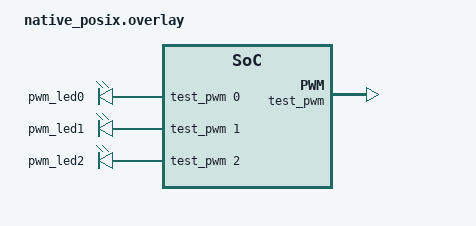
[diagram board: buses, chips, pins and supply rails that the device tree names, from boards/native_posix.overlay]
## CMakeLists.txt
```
#
# Copyright (c) 2023 Nordic Semiconductor ASA
#
# SPDX-License-Identifier: LicenseRef-Nordic-5-Clause
#

cmake_minimum_required(VERSION 3.20.0)

find_package(Zephyr REQUIRED HINTS $ENV{ZEPHYR_BASE})
project(led_module_test)

test_runner_generate(src/led_module_test.c)

target_sources(app
  PRIVATE
  src/led_module_test.c
  ../../src/modules/led/led.c
  ../../src/zbus/message_channel.c
)

zephyr_include_directories(${ZEPHYR_BASE}/include/zephyr/)
zephyr_include_directories(${ZEPHYR_BASE}/subsys/testsuite/include)
zephyr_include_directories(../../src/zbus/)
zephyr_include_directories(../../src/zcbor/include/)


target_link_options(app PRIVATE --whole-archive)
# Options that cannot be passed through Kconfig fragments
target_compile_definitions(app PRIVATE
	-DCONFIG_APP_MODULE_LED_LOG_LEVEL=4
)
```

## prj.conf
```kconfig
#
# Copyright (c) 2023 Nordic Semiconductor ASA
#
# SPDX-License-Identifier: LicenseRef-Nordic-5-Clause
#

CONFIG_UNITY=y
CONFIG_ZBUS=y
CONFIG_PWM=y
CONFIG_LED=y
CONFIG_LOG=y
CONFIG_PWM_LOG_LEVEL_DBG=y
```

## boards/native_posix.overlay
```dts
#include <zephyr/dt-bindings/pwm/pwm.h>

/{
	test_pwm: pwm@11112222 {
		compatible = "nordic,pwm-logger";
		#pwm-cells = <3>;
		reg = <0x11112222 0x1000>;
		status = "okay";
	};
	pwmleds {
		compatible = "pwm-leds";
		pwm_led0: pwm_led_0 {
			pwms = <&test_pwm 0 PWM_MSEC(8) PWM_POLARITY_NORMAL>;
		};
		pwm_led1: pwm_led_1 {
			pwms = <&test_pwm 1 PWM_MSEC(8) PWM_POLARITY_NORMAL>;
		};
		pwm_led2: pwm_led_2 {
			pwms = <&test_pwm 2 PWM_MSEC(8) PWM_POLARITY_NORMAL>;
		};
	};
	aliases {
		pwm-led0 = &pwm_led0;
		pwm-led1 = &pwm_led1;
		pwm-led2 = &pwm_led2;
	};
};
```

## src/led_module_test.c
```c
/*
 * Copyright (c) 2023 Nordic Semiconductor ASA
 *
 * SPDX-License-Identifier: LicenseRef-Nordic-5-Clause
 */
#include <unity.h>

#include <zephyr/fff.h>
#include <zephyr/drivers/pwm.h>
#include "message_channel.h"


DEFINE_FFF_GLOBALS;


FAKE_VALUE_FUNC(int, nordic_pwm_logger_set_cycles,const struct device *, uint32_t,
				 uint32_t, uint32_t,
				 pwm_flags_t);

void setUp(void)
{
	RESET_FAKE(nordic_pwm_logger_set_cycles);
}				 

void test_zero_msg(void)
{
	struct led_message m = {0};

	int err = zbus_chan_pub(&LED_CHAN, &m, K_NO_WAIT);

	TEST_ASSERT_EQUAL(0, err);

	/* expect channels 0,1,2 to be set */
	TEST_ASSERT_EQUAL(0, nordic_pwm_logger_set_cycles_fake.arg1_history[0]);
	TEST_ASSERT_EQUAL(1, nordic_pwm_logger_set_cycles_fake.arg1_history[1]);
	TEST_ASSERT_EQUAL(2, nordic_pwm_logger_set_cycles_fake.arg1_history[2]);

	/* expect pulse to be set to 0,0,0 */
	TEST_ASSERT_EQUAL(0, nordic_pwm_logger_set_cycles_fake.arg3_history[0]);
	TEST_ASSERT_EQUAL(0, nordic_pwm_logger_set_cycles_fake.arg3_history[1]);
	TEST_ASSERT_EQUAL(0, nordic_pwm_logger_set_cycles_fake.arg3_history[2]);
}

void test_white_color(void)
{
	struct led_message m =
	{
		.led_blue = 100,
		.led_green = 100,
		.led_red = 100,
		.timestamp = 1691751633,
	};

	int err = zbus_chan_pub(&LED_CHAN, &m, K_NO_WAIT);

	TEST_ASSERT_EQUAL(0, err);

	/* expect channels 0,1,2 to be set */
	TEST_ASSERT_EQUAL(0, nordic_pwm_logger_set_cycles_fake.arg1_history[0]);
	TEST_ASSERT_EQUAL(1, nordic_pwm_logger_set_cycles_fake.arg1_history[1]);
	TEST_ASSERT_EQUAL(2, nordic_pwm_logger_set_cycles_fake.arg1_history[2]);

	/* expect pulse to be set according to color */
	TEST_ASSERT_EQUAL(nordic_pwm_logger_set_cycles_fake.arg2_history[0] * m.led_red / 100,
		nordic_pwm_logger_set_cycles_fake.arg3_history[0]);
	TEST_ASSERT_EQUAL(nordic_pwm_logger_set_cycles_fake.arg2_history[1] * m.led_green / 100,
		nordic_pwm_logger_set_cycles_fake.arg3_history[1]);
	TEST_ASSERT_EQUAL(nordic_pwm_logger_set_cycles_fake.arg2_history[2] * m.led_blue / 100,
		nordic_pwm_logger_set_cycles_fake.arg3_history[2]);
}

void test_purple_color(void)
{
	struct led_message m =
	{
		.led_blue = 50,
		.led_green = 0,
		.led_red = 50,
		.timestamp = 1691751633,
	};

	int err = zbus_chan_pub(&LED_CHAN, &m, K_NO_WAIT);

	TEST_ASSERT_EQUAL(0, err);

	/* expect channels 0,1,2 to be set */
	TEST_ASSERT_EQUAL(0, nordic_pwm_logger_set_cycles_fake.arg1_history[0]);
	TEST_ASSERT_EQUAL(1, nordic_pwm_logger_set_cycles_fake.arg1_history[1]);
	TEST_ASSERT_EQUAL(2, nordic_pwm_logger_set_cycles_fake.arg1_history[2]);

	/* expect pulse to be set according to color */
	TEST_ASSERT_EQUAL(nordic_pwm_logger_set_cycles_fake.arg2_history[0] * m.led_red / 100,
		nordic_pwm_logger_set_cycles_fake.arg3_history[0]);
	TEST_ASSERT_EQUAL(nordic_pwm_logger_set_cycles_fake.arg2_history[1] * m.led_green / 100,
		nordic_pwm_logger_set_cycles_fake.arg3_history[1]);
	TEST_ASSERT_EQUAL(nordic_pwm_logger_set_cycles_fake.arg2_history[2] * m.led_blue / 100,
		nordic_pwm_logger_set_cycles_fake.arg3_history[2]);
}



/* It is required to be added to each test. That is because unity's
 * main may return nonzero, while zephyr's main currently must
 * return 0 in all cases (other values are reserved).
 */
extern int unity_main(void);

int main(void)
{
	/* use the runner from test_runner_generate() */
	(void)unity_main();

	return 0;
}
```
